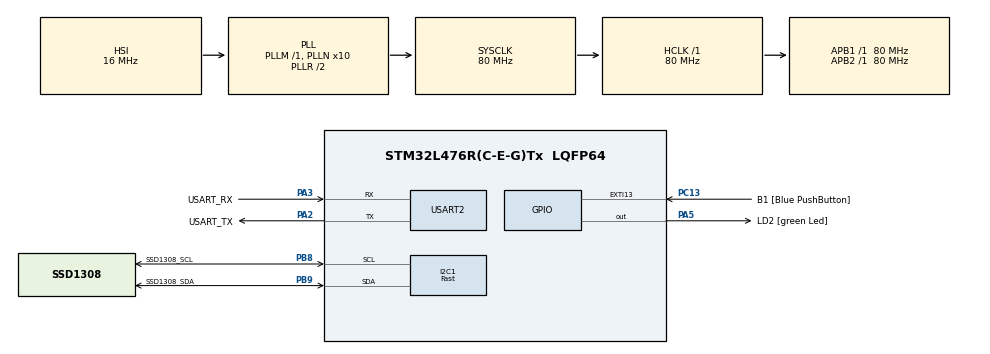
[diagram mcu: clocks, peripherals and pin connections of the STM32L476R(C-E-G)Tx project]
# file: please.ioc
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I2C1.I2C_Speed_Mode=I2C_Fast
I2C1.Timing=0x00F12981
Mcu.Family=STM32L4
Mcu.Name=STM32L476R(C-E-G)Tx
Mcu.Package=LQFP64
NVIC.PriorityGroup=NVIC_PRIORITYGROUP_4
NVIC.TIM2_IRQn=true\:1\:0\:true\:false\:true\:true\:true\:true
PA13\ (JTMS-SWDIO).GPIO_Label=TMS
PA13\ (JTMS-SWDIO).Mode=Serial_Wire
PA13\ (JTMS-SWDIO).Signal=SYS_JTMS-SWDIO
PA14\ (JTCK-SWCLK).GPIO_Label=TCK
PA14\ (JTCK-SWCLK).Mode=Serial_Wire
PA14\ (JTCK-SWCLK).Signal=SYS_JTCK-SWCLK
PA2.GPIO_Label=USART_TX
PA2.GPIO_Mode=GPIO_MODE_AF_PP
PA2.GPIO_PuPd=GPIO_NOPULL
PA2.GPIO_Speed=GPIO_SPEED_FREQ_VERY_HIGH
PA2.Mode=Asynchronous
PA2.Signal=USART2_TX
PA3.GPIO_Label=USART_RX
PA3.GPIO_Mode=GPIO_MODE_AF_PP
PA3.GPIO_PuPd=GPIO_NOPULL
PA3.GPIO_Speed=GPIO_SPEED_FREQ_VERY_HIGH
PA3.Mode=Asynchronous
PA3.Signal=USART2_RX
PA5.GPIO_Label=LD2 [green Led]
PA5.GPIO_ModeDefaultOutputPP=GPIO_MODE_OUTPUT_PP
PA5.GPIO_PuPd=GPIO_NOPULL
PA5.GPIO_Speed=GPIO_SPEED_FREQ_LOW
PA5.Signal=GPIO_Output
PB3\ (JTDO-TRACESWO).GPIO_Label=SWO
PB3\ (JTDO-TRACESWO).Signal=SYS_JTDO-SWO
PB8.GPIO_Label=SSD1308_SCL
PB8.Mode=I2C
PB8.Signal=I2C1_SCL
PB9.GPIO_Label=SSD1308_SDA
PB9.Mode=I2C
PB9.Signal=I2C1_SDA
PC13.GPIO_Label=B1 [Blue PushButton]
PC13.GPIO_ModeDefaultEXTI=GPIO_MODE_IT_FALLING
PC13.GPIO_PuPd=GPIO_NOPULL
PC13.Signal=GPXTI13
PC14-OSC32_IN\ (PC14).Mode=LSE-External-Oscillator
PC14-OSC32_IN\ (PC14).Signal=RCC_OSC32_IN
PC15-OSC32_OUT\ (PC15).Mode=LSE-External-Oscillator
PC15-OSC32_OUT\ (PC15).Signal=RCC_OSC32_OUT
PH0-OSC_IN\ (PH0).Signal=RCC_OSC_IN
PH1-OSC_OUT\ (PH1).Signal=RCC_OSC_OUT
ProjectManager.HeapSize=0x200
ProjectManager.StackSize=0x400
ProjectManager.TargetToolchain=CMake
RCC.ADCFreq_Value=64000000
RCC.AHBFreq_Value=80000000
RCC.APB1Freq_Value=80000000
RCC.APB1TimFreq_Value=80000000
RCC.APB2Freq_Value=80000000
RCC.APB2TimFreq_Value=80000000
RCC.CortexFreq_Value=80000000
RCC.HCLKFreq_Value=80000000
RCC.HSE_VALUE=8000000
RCC.HSI_VALUE=16000000
RCC.MSI_VALUE=4000000
RCC.PLLN=10
RCC.PLLSourceVirtual=RCC_PLLSOURCE_HSI
RCC.PREFETCH_ENABLE=1
RCC.SYSCLKFreq_VALUE=80000000
RCC.SYSCLKSource=RCC_SYSCLKSOURCE_PLLCLK
RCC.USBFreq_Value=64000000
RCC.VCOOutputFreq_Value=160000000
TIM2.Period=50000-1
TIM2.Prescaler=1600-1
USART2.VirtualMode-Asynchronous=VM_ASYNC
VP_TIM2_VS_ClockSourceINT.Mode=Internal
board=NUCLEO-L476RG

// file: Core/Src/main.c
/* USER CODE BEGIN Header */
/**
  ******************************************************************************
  * @file           : main.c
  * @brief          : Main program body
  ******************************************************************************
  * @attention
  *
  * Copyright (c) 2026 STMicroelectronics.
  * All rights reserved.
  *
  * This software is licensed under terms that can be found in the LICENSE file
  * in the root directory of this software component.
  * If no LICENSE file comes with this software, it is provided AS-IS.
  *
  ******************************************************************************
  */
/* USER CODE END Header */
#include "main.h"
#include "i2c.h"
#include "stm32l4xx_hal_tim.h"
#include "tim.h"
#include "usart.h"
#include "gpio.h"

/* USER CODE BEGIN Includes */
#include "ssd1308.h"
#include "fonts.h"
/* USER CODE END Includes */

/* USER CODE BEGIN PV */
extern uint32_t elapsed_seconds;
extern char seconds_in_string[12];
/* USER CODE END PV */

void SystemClock_Config(void);

int main(void)
{

  /* MCU Configuration--------------------------------------------------------*/

  /* Reset of all peripherals, Initializes the Flash interface and the Systick. */
  HAL_Init();

  /* Configure the system clock */
  SystemClock_Config();

  /* Initialize all configured peripherals */
  MX_GPIO_Init();
  MX_USART2_UART_Init();
  MX_I2C1_Init();
  MX_TIM2_Init();
  /* USER CODE BEGIN 2 */
  HAL_TIM_Base_Start_IT(&htim2);
  SSD1308_t mySSD1308;
  ssd1308_init(&mySSD1308);
  HAL_Delay(500);
  ssd1308_gotoXY(&mySSD1308, 0, 20);
  ssd1308_put_string(&mySSD1308, "Seconds since", &Font_7x10, SSD1308_PIXEL_ON);
  ssd1308_gotoXY(&mySSD1308, 0, 31);
  ssd1308_put_string(&mySSD1308, "startup:", &Font_7x10, SSD1308_PIXEL_ON);
  ssd1308_update_screen();
  /* USER CODE END 2 */

  /* Infinite loop */
  /* USER CODE BEGIN WHILE */
  while (1)
  {
    ssd1308_gotoXY(&mySSD1308, 0, 42);
    ssd1308_put_string(&mySSD1308, seconds_in_string, &Font_11x18, SSD1308_PIXEL_ON);
    ssd1308_update_screen();
    /* USER CODE END WHILE */

  }
}

void SystemClock_Config(void)
{
  RCC_OscInitTypeDef RCC_OscInitStruct = {0};
  RCC_ClkInitTypeDef RCC_ClkInitStruct = {0};

  /** Configure the main internal regulator output voltage
  */
  if (HAL_PWREx_ControlVoltageScaling(PWR_REGULATOR_VOLTAGE_SCALE1) != HAL_OK)
  {
    Error_Handler();
  }

  /** Initializes the RCC Oscillators according to the specified parameters
  * in the RCC_OscInitTypeDef structure.
  */
  RCC_OscInitStruct.OscillatorType = RCC_OSCILLATORTYPE_HSI;
  RCC_OscInitStruct.HSIState = RCC_HSI_ON;
  RCC_OscInitStruct.HSICalibrationValue = RCC_HSICALIBRATION_DEFAULT;
  RCC_OscInitStruct.PLL.PLLState = RCC_PLL_ON;
  RCC_OscInitStruct.PLL.PLLSource = RCC_PLLSOURCE_HSI;
  RCC_OscInitStruct.PLL.PLLM = 1;
  RCC_OscInitStruct.PLL.PLLN = 10;
  RCC_OscInitStruct.PLL.PLLP = RCC_PLLP_DIV7;
  RCC_OscInitStruct.PLL.PLLQ = RCC_PLLQ_DIV2;
  RCC_OscInitStruct.PLL.PLLR = RCC_PLLR_DIV2;
  if (HAL_RCC_OscConfig(&RCC_OscInitStruct) != HAL_OK)
  {
    Error_Handler();
  }

  /** Initializes the CPU, AHB and APB buses clocks
  */
  RCC_ClkInitStruct.ClockType = RCC_CLOCKTYPE_HCLK|RCC_CLOCKTYPE_SYSCLK
                              |RCC_CLOCKTYPE_PCLK1|RCC_CLOCKTYPE_PCLK2;
  RCC_ClkInitStruct.SYSCLKSource = RCC_SYSCLKSOURCE_PLLCLK;
  RCC_ClkInitStruct.AHBCLKDivider = RCC_SYSCLK_DIV1;
  RCC_ClkInitStruct.APB1CLKDivider = RCC_HCLK_DIV1;
  RCC_ClkInitStruct.APB2CLKDivider = RCC_HCLK_DIV1;

  if (HAL_RCC_ClockConfig(&RCC_ClkInitStruct, FLASH_LATENCY_4) != HAL_OK)
  {
    Error_Handler();
  }
}

void Error_Handler(void)
{
  __disable_irq();
  while (1)
  {
  }
}
